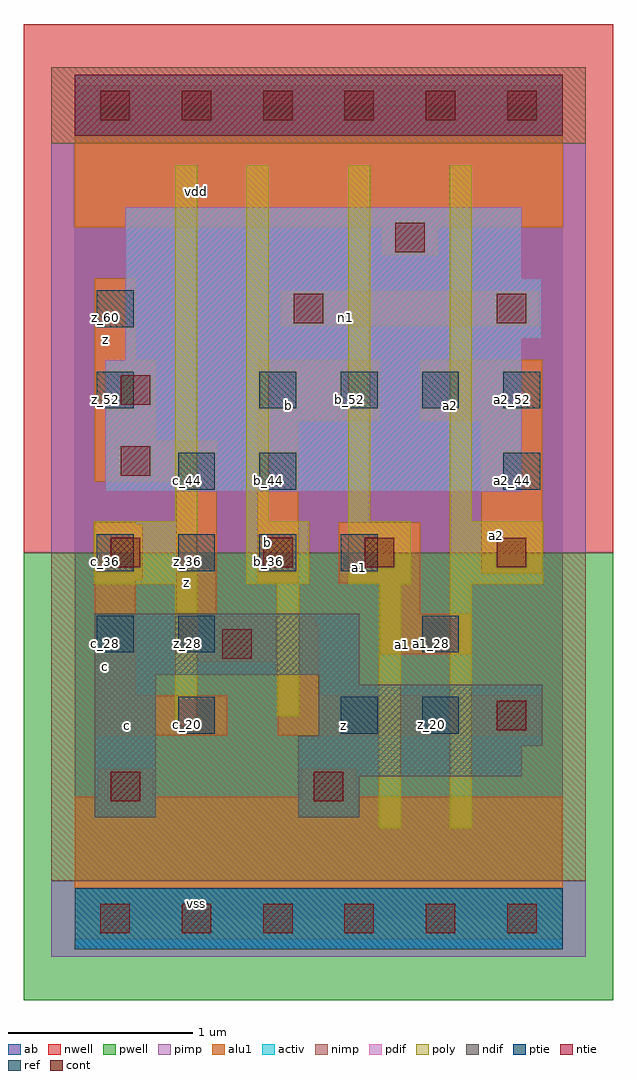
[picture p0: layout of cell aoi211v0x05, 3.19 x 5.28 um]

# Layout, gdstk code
import gdstk
lib = gdstk.Library(unit=1e-6, precision=2.5e-09)
def R(c, l, rs):  # rectangles x0, y0, x1, y1
    for r in rs: c.add(gdstk.rectangle(r[:2], r[2:], *l))
def A(c, l, x, y, w, h, nx, ny, dx, dy):  # array of equal rectangles
    R(c, l, [(x+i*dx, y+j*dy, x+i*dx+w, y+j*dy+h) for i in range(nx) for j in range(ny)])
ndif = (3, 0)
pdif = (4, 0)
ntie = (5, 0)
ptie = (6, 0)
ref = (24, 0)
cont = (25, 0)
pwell = (41, 0)
nwell = (42, 0)
activ = (43, 0)
pimp = (44, 0)
nimp = (45, 0)
poly = (46, 0)
alu1 = (49, 0)
ab = (63, 0)

aoi211v0x05 = lib.new_cell('aoi211v0x05')
R(aoi211v0x05, ndif, [(0.11,0.55,0.44,1.32), (1.21,0.55,1.54,0.77), (1.21,0.77,2.42,0.935), (1.21,0.935,2.53,0.99), (1.32,0.99,2.53,1.265), (1.32,1.265,1.54,1.32), (0.11,1.32,1.54,1.65)])
R(aoi211v0x05, pdif, [(0.165,2.31,2.42,3.025), (0.275,3.025,2.42,3.135), (0.275,3.135,2.53,3.465), (0.275,3.465,2.42,3.85)])
R(aoi211v0x05, ntie, [(0,4.235,2.64,4.565)])
R(aoi211v0x05, ptie, [(0,-0.165,2.64,0.165)])
A(aoi211v0x05, ref, 0.12, 1.88, 0.2, 0.2, 4, 1, 0.44, 0)
A(aoi211v0x05, ref, 1, 2.76, 0.2, 0.2, 4, 1, 0.44, 0)
R(aoi211v0x05, ref, [(0.56,1,0.76,1.2), (1.44,1,1.64,1.2), (1.88,1,2.08,1.2), (0.12,1.44,0.32,1.64), (0.56,1.44,0.76,1.64), (1.88,1.44,2.08,1.64), (0.56,2.32,0.76,2.52), (1,2.32,1.2,2.52), (2.32,2.32,2.52,2.52), (0.12,2.76,0.32,2.96), (0.12,3.2,0.32,3.4)])
A(aoi211v0x05, cont, 0.14, -0.08, 0.16, 0.16, 6, 2, 0.44, 4.4)
R(aoi211v0x05, cont, [(0.195,0.635,0.355,0.795), (1.295,0.635,1.455,0.795), (2.285,1.02,2.445,1.18), (0.8,1.405,0.96,1.565), (0.195,1.9,0.355,2.06), (1.02,1.9,1.18,2.06), (1.57,1.9,1.73,2.06), (2.285,1.9,2.445,2.06), (0.25,2.395,0.41,2.555), (0.25,2.78,0.41,2.94), (1.185,3.22,1.345,3.38), (2.285,3.22,2.445,3.38), (1.735,3.605,1.895,3.765)])
R(aoi211v0x05, pwell, [(-0.275,-0.44,2.915,1.98)])
R(aoi211v0x05, nwell, [(-0.275,1.98,2.915,4.84)])
R(aoi211v0x05, activ, [(0,-0.165,2.64,0.165), (0.11,0.55,0.44,1.32), (1.21,0.55,1.54,0.77), (1.21,0.77,2.42,0.935), (1.21,0.935,2.53,0.99), (1.32,0.99,2.53,1.265), (1.32,1.265,1.54,1.32), (0.11,1.32,1.54,1.65), (0.165,2.31,2.42,3.025), (0.275,3.025,2.42,3.135), (0.275,3.135,2.53,3.465), (0.275,3.465,2.42,3.85), (0,4.235,2.64,4.565)])
R(aoi211v0x05, pimp, [(-0.125,-0.205,2.765,0.205), (-0.125,1.98,2.765,4.195)])
R(aoi211v0x05, nimp, [(-0.125,0.205,2.765,1.98), (-0.125,4.195,2.765,4.605)])
A(aoi211v0x05, poly, 0.93, 2.15, 0.12, 1.925, 3, 1, 0.55, 0)
R(aoi211v0x05, poly, [(1.645,0.49,1.765,1.81), (2.03,0.49,2.15,1.81), (0.545,1.04,0.665,1.81), (1.095,1.095,1.215,1.81), (0.105,1.81,0.665,2.15), (0.93,1.81,1.27,2.15), (1.48,1.81,1.82,2.15), (2.03,1.81,2.535,2.15), (0.545,2.15,0.665,4.075)])
R(aoi211v0x05, alu1, [(0,-0.11,2.64,0.66), (0.125,0.66,0.425,0.81), (1.225,0.66,1.525,0.81), (0.11,0.99,0.825,1.21), (1.1,0.99,2.53,1.21), (0.11,1.21,0.33,1.83), (1.1,1.21,1.32,1.39), (0.565,1.39,1.32,1.43), (0.55,1.43,1.32,1.595), (1.65,1.43,2.145,1.65), (0.55,1.595,1.305,1.635), (0.55,1.635,0.77,2.365), (1.65,1.65,1.87,1.815), (0.99,1.815,1.21,2.695), (1.43,1.815,1.87,2.145), (0.11,1.83,0.37,2.13), (2.2,1.87,2.53,2.695), (0.11,2.13,0.33,2.145), (0.11,2.365,0.77,2.585), (0.11,2.585,0.44,3.025), (0.99,2.695,1.65,3.025), (1.87,2.695,2.53,3.025), (0.11,3.025,0.33,3.465), (1.115,3.205,2.515,3.395), (1.665,3.59,1.965,3.74), (0,3.74,2.64,4.51)])
R(aoi211v0x05, ab, [(0,0,2.64,4.4)])
aoi211v0x05.add(gdstk.Label('vss', (0.66,0.0825), layer=49, texttype=0))
aoi211v0x05.add(gdstk.Label('z', (1.4575,1.045), layer=49, texttype=0))
aoi211v0x05.add(gdstk.Label('c', (0.2875,1.045), layer=49, texttype=0))
aoi211v0x05.add(gdstk.Label('a1', (1.7725,1.485), layer=49, texttype=0))
aoi211v0x05.add(gdstk.Label('a2', (2.2825,2.075), layer=49, texttype=0))
aoi211v0x05.add(gdstk.Label('a1', (1.54,1.8975), layer=49, texttype=0))
aoi211v0x05.add(gdstk.Label('b', (1.045,2.035), layer=49, texttype=0))
aoi211v0x05.add(gdstk.Label('z', (0.605,1.8175), layer=49, texttype=0))
aoi211v0x05.add(gdstk.Label('c', (0.165,1.365), layer=49, texttype=0))
aoi211v0x05.add(gdstk.Label('a2', (2.035,2.7775), layer=49, texttype=0))
aoi211v0x05.add(gdstk.Label('b', (1.155,2.7775), layer=49, texttype=0))
aoi211v0x05.add(gdstk.Label('n1', (1.465,3.2525), layer=49, texttype=0))
aoi211v0x05.add(gdstk.Label('z', (0.165,3.135), layer=49, texttype=0))
aoi211v0x05.add(gdstk.Label('vdd', (0.66,3.9325), layer=49, texttype=0))
aoi211v0x05.add(gdstk.Label('c_44', (0.61,2.37), layer=24, texttype=0))
aoi211v0x05.add(gdstk.Label('b_44', (1.05,2.37), layer=24, texttype=0))
aoi211v0x05.add(gdstk.Label('b_52', (1.05,2.81), layer=24, texttype=0))
aoi211v0x05.add(gdstk.Label('z_20', (1.49,1.05), layer=24, texttype=0))
aoi211v0x05.add(gdstk.Label('b_52', (1.49,2.81), layer=24, texttype=0))
aoi211v0x05.add(gdstk.Label('z_20', (1.93,1.05), layer=24, texttype=0))
aoi211v0x05.add(gdstk.Label('a1_28', (1.93,1.49), layer=24, texttype=0))
aoi211v0x05.add(gdstk.Label('a2_52', (1.93,2.81), layer=24, texttype=0))
aoi211v0x05.add(gdstk.Label('z_52', (0.17,2.81), layer=24, texttype=0))
aoi211v0x05.add(gdstk.Label('a2_44', (2.37,2.37), layer=24, texttype=0))
aoi211v0x05.add(gdstk.Label('a2_52', (2.37,2.81), layer=24, texttype=0))
aoi211v0x05.add(gdstk.Label('c_36', (0.17,1.93), layer=24, texttype=0))
aoi211v0x05.add(gdstk.Label('z_28', (0.61,1.49), layer=24, texttype=0))
aoi211v0x05.add(gdstk.Label('c_20', (0.61,1.05), layer=24, texttype=0))
aoi211v0x05.add(gdstk.Label('z_36', (0.61,1.93), layer=24, texttype=0))
aoi211v0x05.add(gdstk.Label('c_28', (0.17,1.49), layer=24, texttype=0))
aoi211v0x05.add(gdstk.Label('a1_36', (1.49,1.93), layer=24, texttype=0))
aoi211v0x05.add(gdstk.Label('b_36', (1.05,1.93), layer=24, texttype=0))
aoi211v0x05.add(gdstk.Label('z_60', (0.17,3.25), layer=24, texttype=0))

lib.write_gds('aoi211v0x05.gds')
